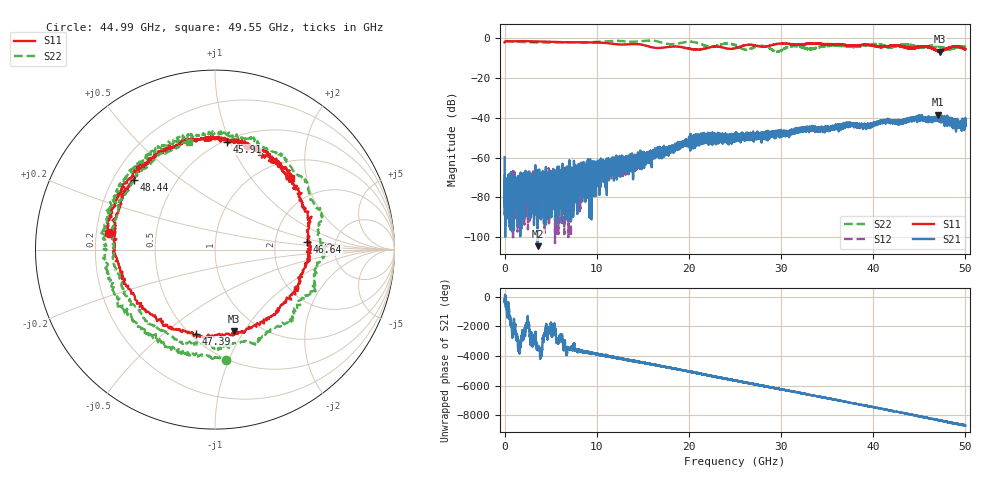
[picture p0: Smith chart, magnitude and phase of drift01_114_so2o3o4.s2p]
!Created with skrf (http://scikit-rf.org).
# Hz S RI R 50.0
!freq ReS11 ImS11 ReS21 ImS21 ReS12 ImS12 ReS22 ImS22
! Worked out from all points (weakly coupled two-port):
!   10001 points, 300 kHz to 50 GHz, reference 50 ohm
!   highest |S21| = -38.36 dB at 47.03 GHz (marker M1); lowest = -104.6 dB at 3.595 GHz (marker M2)
!   lowest |S11| = -6.6 dB at 47.21 GHz (marker M3), VSWR 2.75, Z = 38.7 - j45 ohm
!   |S11| at or under -10 dB: nowhere
!   |S22| runs from -6.8 to -1.0 dB; largest |S21 - S12| = 0.0041
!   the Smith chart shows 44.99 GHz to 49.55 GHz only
!   S11 on the Smith chart (normalised r, x): 44.99 GHz: 0.25, +0.07; 45.91 GHz: 0.51, +0.97; 46.64 GHz: 3.08, +0.34; 47.39 GHz: 0.53, -0.65; 48.44 GHz: 0.29, +0.35; 49.55 GHz: 1.35, +1.62
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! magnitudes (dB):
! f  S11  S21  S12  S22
! 300 kHz  -2.1  -59.7  -67.9  -1.3
! 270.3 MHz  -1.4  -81.1  -85.7  -1.4
! 3.595 GHz  -1.5  -104.6  -81.4  -2.0
! 5.74 GHz  -1.8  -77.5  -77.7  -2.0
! 8.335 GHz  -1.9  -70.5  -63.5  -2.1
! 16.67 GHz  -4.8  -56.4  -58.1  -1.6
! 21.74 GHz  -5.1  -50.1  -51.3  -3.7
! 25 GHz  -5.0  -51.0  -49.2  -3.4
! 28.08 GHz  -4.3  -50.0  -48.1  -3.8
! 29.53 GHz  -2.8  -48.5  -48.5  -6.8
! 31.29 GHz  -3.1  -47.0  -47.3  -3.9
! 33.34 GHz  -2.6  -44.8  -45.0  -5.4
! 41.67 GHz  -3.9  -41.7  -41.7  -4.5
! 44.99 GHz  -4.4  -39.9  -40.4  -4.2
! 45.91 GHz  -4.4  -40.2  -40.4  -4.1
! 46.64 GHz  -5.8  -40.3  -40.3  -3.6
! 47.03 GHz  -6.3  -38.4  -40.8  -4.1
! 47.21 GHz  -6.6  -39.7  -39.9  -4.4
! 47.39 GHz  -6.4  -41.2  -40.7  -4.6
! 48.44 GHz  -4.5  -40.7  -42.0  -5.2
! 49.55 GHz  -4.7  -43.2  -43.2  -4.2
! 50 GHz  -5.5  -43.9  -42.7  -4.2
